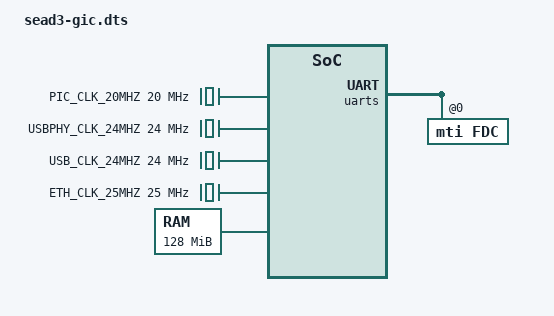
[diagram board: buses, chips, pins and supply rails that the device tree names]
/dts-v1/;

/memreserve/ 0x00000000 0x00001000;	// reserved
/memreserve/ 0x00001000 0x000ef000;	// ROM data
/memreserve/ 0x000f0000 0x004cc000;	// reserved

/ {
	#address-cells = <1>;
	#size-cells = <1>;
	compatible = "mti,sead-3";
	interrupt-parent = <&gic>;

	clocks {
		GL_LV_CLK0: GL_LV_CLK0 {
			compatible = "fixed-clock";
			#clock-cells = <0>;
			clock-frequency = <66000000>;
		};
		GL_A3_LV_CLK0: GL_A3_LV_CLK0 {
			compatible = "fixed-clock";
			#clock-cells = <0>;
			clock-frequency = <66000000>;
		};
		GL_LV_CLK1: GL_LV_CLK1 {
			compatible = "fixed-clock";
			#clock-cells = <0>;
			clock-frequency = <40000000>;
		};
		GL_A3_LV_CLK1: GL_A3_LV_CLK1 {
			compatible = "fixed-clock";
			#clock-cells = <0>;
			clock-frequency = <40000000>;
		};
		PIC_CLK_20MHZ: PIC_CLK_20MHZ {
			compatible = "fixed-clock";
			#clock-cells = <0>;
			clock-frequency = <20000000>;
		};
		USBPHY_CLK_24MHZ: USBPHY_CLK_24MHZ {
			compatible = "fixed-clock";
			#clock-cells = <0>;
			clock-frequency = <24000000>;
		};
		USB_CLK_24MHZ: USB_CLK_24MHZ {
			compatible = "fixed-clock";
			#clock-cells = <0>;
			clock-frequency = <24000000>;
		};
		ETH_CLK_25MHZ: ETH_CLK_25MHZ {
			compatible = "fixed-clock";
			#clock-cells = <0>;
			clock-frequency = <25000000>;
		};
		GL_CLK_24_576: GL_CLK_24_576 {
			compatible = "fixed-clock";
			#clock-cells = <0>;
			clock-frequency = <24576000>;
		};
		GL_LV_CLK_P: GL_LV_CLK_P {
			compatible = "fixed-clock";
			#clock-cells = <0>;
			clock-frequency = <200000000>;
		};
		GL_LV_CLK_N: GL_LV_CLK_N {
			compatible = "fixed-clock";
			#clock-cells = <0>;
			clock-frequency = <200000000>;
		};
		CP0_CLK: CP0_CLK {
			compatible = "fixed-clock";
			#clock-cells = <0>;
			clock-frequency = <33000000>;
		};
	};

	cpus {
		#address-cells = <1>;
		#size-cells = <1>;

		cpu@0 {
			reg = <0 0>;
			compatible = "mti,mips14KEc", "mti,mips14Kc", "mti,mips", "mti,embedded-cpu";
			mti,vmem = <0x80000000 0x7a6000>;
			clocks = <&GL_LV_CLK0>;
		};
	};

	drives {
		#address-cells = <1>;
		#size-cells = <1>;
		ramdisk@0 {
			compatible = "mti,ram-disk";
			reg = <0x7a6000 0x5a000>;
			mti,vmem = <0x807a6000 0x5a000>;

		};
	};

	memory {
		device_type = "memory";
		reg = <0x0 0x08000000>;
	};

	gic: interrupt-controller@1bdc0000 {
		compatible="mti,gic";
		reg = <0x1b1c0000 0x20000>;
		interrupt-controller;
		#interrupt-cells = <3>;
	};

	uarts {
		#address-cells = <1>;
		#size-cells = <1>;
		usbuart@1f000800 {
			compatible = "ns16550a";
			reg = <0x1f000800 0x100>;
			reg-shift = <2>;
			clock-frequency = <14745600>;
			interrupts = <0 2 1>;
		};
		ttyS0@1f000900 {
			compatible = "ns16550a";
			reg = <0x1f000900 0x100>;
			reg-shift = <2>;
			clock-frequency = <14745600>;
			interrupts = <0 3 1>;
		};
		fdc@0 {
			compatible = "mti,fdc";
			reg = <0 0>;
			channel = <2>;
		};
	};

	net {
		#address-cells = <1>;
		#size-cells = <1>;
		en0@1f010000 {
			compatible = "smsc,lan9211", "smsc,lan9115";
			reg = <0x1f010000 0x2000000>;
			phy-mode = "mii";
			interrupts = <0 0 4>;
			reg-io-width = <4>;
			mac-address = <0x02 0x19 0xf5 0x09 0x00 0x12>;
			smsc,irq-push-pull;
		};
	};
};
